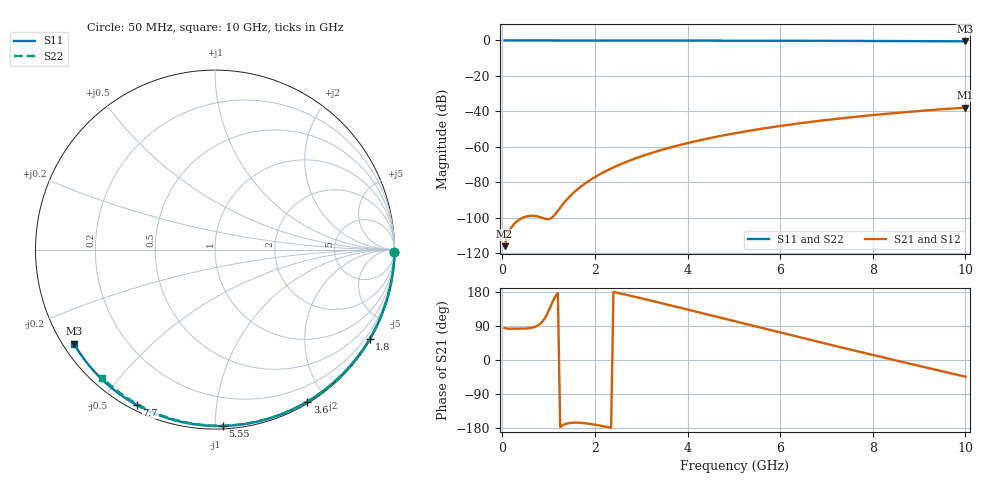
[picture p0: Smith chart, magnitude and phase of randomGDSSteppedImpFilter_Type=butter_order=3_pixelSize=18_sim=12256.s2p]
! freq	dB(S11)	phase(S11)	dB(S12)	phase(S12)
!  dB(S21)	phase(S21)	dB(S22)	phase(S22)
!S-par simulation data
#  GHz  S  DB  R 50
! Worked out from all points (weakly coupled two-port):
!   200 points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, 50 MHz to 10 GHz, reference 50 ohm
!   highest |S21| = -37.85 dB at 10 GHz (marker M1); lowest = -116.1 dB at 50 MHz (marker M2)
!   lowest |S11| = -0.5 dB at 10 GHz (marker M3), VSWR 35.17, Z = 1.55 - j15.1 ohm
!   |S11| at or under -10 dB: nowhere
!   |S22| runs from -0.4 to 0.0 dB; largest |S21 - S12| = 0
!   S11 on the Smith chart (normalised r, x): 50 MHz: open; 1.8 GHz: 0.03, -3.71; 3.6 GHz: 0.02, -1.78; 5.55 GHz: 0.02, -1.05; 7.7 GHz: 0.02, -0.62; 10 GHz: 0.03, -0.30
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0.05  -0.00 -0.9  -116.06 84.6  -116.06 84.6  -0.00 -0.8
0.45  -0.01 -7.7  -99.93 82.7  -99.93 82.7  -0.01 -6.8
0.9  -0.02 -15.2  -100.43 106.7  -100.43 106.7  -0.02 -13.6
1.3  -0.03 -21.9  -92.66 -172.6  -92.66 -172.6  -0.02 -19.5
1.75  -0.04 -29.3  -81.39 -166.5  -81.39 -166.5  -0.03 -26.2
1.8  -0.04 -30.1  -80.44 -167.1  -80.44 -167.1  -0.03 -26.9
1.85  -0.04 -31.0  -79.55 -167.9  -79.55 -167.9  -0.04 -27.6
2.05  -0.04 -34.2  -76.30 -171.8  -76.30 -171.8  -0.04 -30.6
2.2  -0.05 -36.7  -74.17 -175.2  -74.17 -175.2  -0.04 -32.8
2.55  -0.05 -42.3  -69.89 175.7  -69.89 175.7  -0.05 -37.8
2.95  -0.06 -48.6  -65.85 164.4  -65.85 164.4  -0.06 -43.5
3.4  -0.07 -55.7  -62.07 151.2  -62.07 151.2  -0.07 -49.8
3.6  -0.08 -58.8  -60.59 145.2  -60.59 145.2  -0.07 -52.6
4.3  -0.10 -69.3  -56.11 124.0  -56.11 124.0  -0.09 -62.2
5.05  -0.12 -80.3  -52.23 101.2  -52.23 101.2  -0.11 -72.1
5.55  -0.14 -87.5  -50.02 86.1  -50.02 86.1  -0.13 -78.6
6.1  -0.17 -95.1  -47.88 69.5  -47.88 69.5  -0.15 -85.6
6.7  -0.20 -103.3  -45.82 51.6  -45.82 51.6  -0.18 -93.0
7.7  -0.27 -116.6  -42.89 22.1  -42.89 22.1  -0.24 -105.0
8.35  -0.32 -125.1  -41.25 3.2  -41.25 3.2  -0.29 -112.6
9.2  -0.40 -136.0  -39.38 -21.2  -39.38 -21.2  -0.36 -122.3
10  -0.49 -146.3  -37.85 -44.0  -37.85 -44.0  -0.44 -131.3
